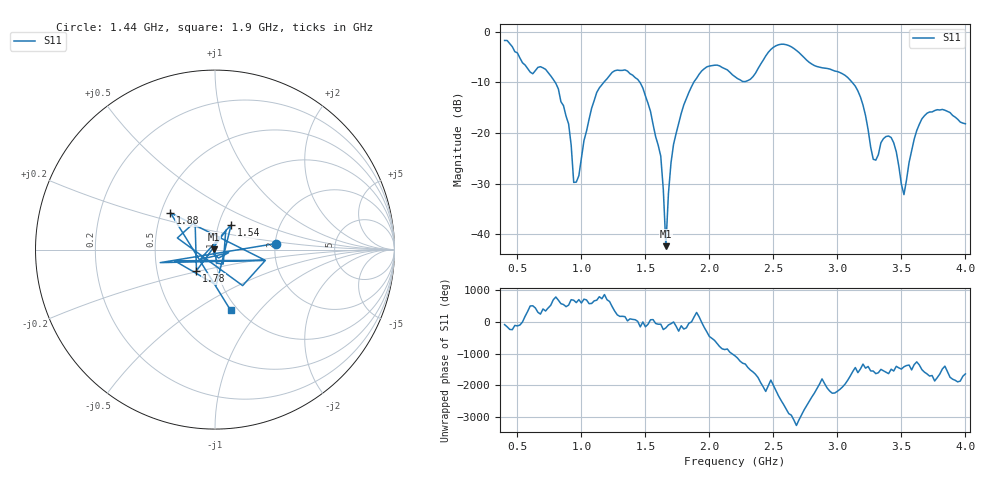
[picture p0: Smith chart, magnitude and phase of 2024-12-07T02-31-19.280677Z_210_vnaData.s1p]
!Created with skrf (http://scikit-rf.org).
# Hz S RI R 50.0
!freq ReS11 ImS11
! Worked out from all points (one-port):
!   181 points, 400 MHz to 4 GHz, reference 50 ohm
!   lowest |S11| = -42.3 dB at 1.66 GHz (marker M1), VSWR 1.02, Z = 49.3 + j0.227 ohm
!   |S11| at or under -10 dB: 795.8 MHz to 1.174 GHz (378.2 MHz wide, 38.4 % of centre); 1.458 GHz to 1.877 GHz (419.2 MHz wide, 25.1 % of centre); 3.116 GHz to end of sweep
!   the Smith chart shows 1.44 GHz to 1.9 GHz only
!   S11 on the Smith chart (normalised r, x): 1.44 GHz: 2.01, +0.15; 1.54 GHz: 1.15, +0.32; 1.78 GHz: 0.79, -0.19; 1.88 GHz: 0.56, +0.26; 1.9 GHz: 0.93, -0.71
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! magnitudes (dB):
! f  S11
! 400 MHz  -1.7
! 600 MHz  -8.0
! 720 MHz  -7.4
! 860 MHz  -14.6
! 900 MHz  -18.2
! 940 MHz  -29.7
! 960 MHz  -29.7
! 1.12 GHz  -12.0
! 1.3 GHz  -7.6
! 1.44 GHz  -9.4
! 1.54 GHz  -15.7
! 1.62 GHz  -24.5
! 1.66 GHz  -42.3
! 1.7 GHz  -25.9
! 1.76 GHz  -18.0
! 1.78 GHz  -16.1
! 1.88 GHz  -9.9
! 1.9 GHz  -9.2
! 2.2 GHz  -8.9
! 2.66 GHz  -3.3
! 3.1 GHz  -9.5
! 3.2 GHz  -14.5
! 3.28 GHz  -25.2
! 3.42 GHz  -20.9
! 3.52 GHz  -32.1
! 3.56 GHz  -25.8
! 3.7 GHz  -16.1
! 4 GHz  -18.1
